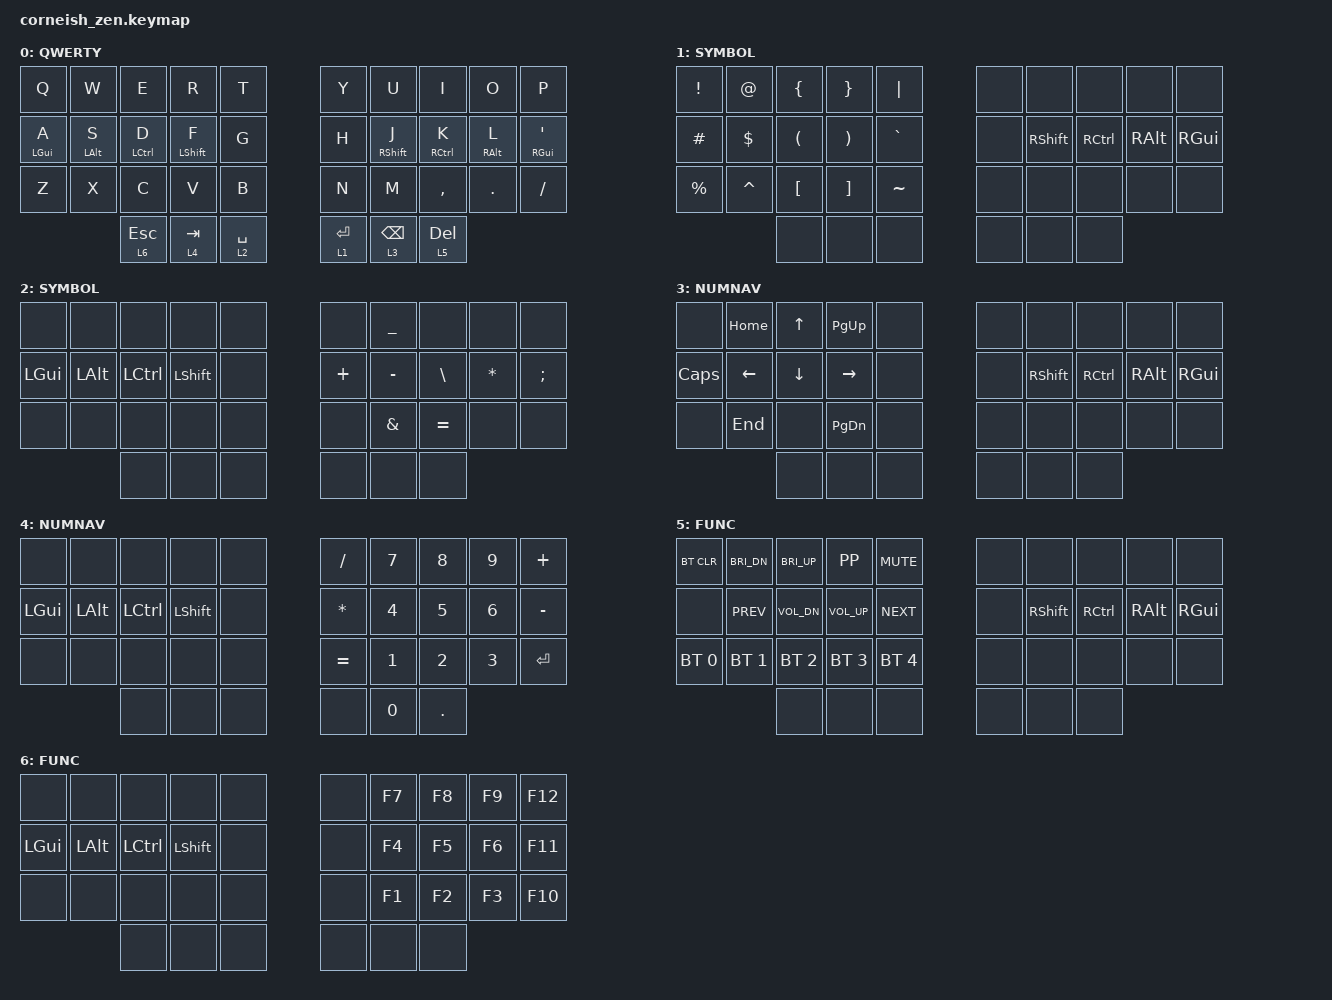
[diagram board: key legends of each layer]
#include <behaviors.dtsi>
#include <dt-bindings/zmk/bt.h>
#include <dt-bindings/zmk/keys.h>
#include <dt-bindings/zmk/matrix_transform.h>
#include <dt-bindings/zmk/outputs.h>

&mt {
  tapping-term-ms = <200>;
  quick_tap_ms = <0>;
  flavor = "tap-preferred";
};

/ {
  chosen {
    zmk,matrix_transform = &five_column_transform;
  };

/*
*                KEY POSITIONS
*    0   1   2   3   4 │ │  5   6   7   8   9
*   10  11  12  13  14 │ │ 15  16  17  18  19
*   20  21  22  23  24 │ │ 25  26  27  28  29
*           30  31  32 │ │ 33  34  35
*/
  combos {
    compatible = "zmk,combos";
    combo_capsword {
      timeout-ms = <50>;
      key-positions = <13 16>;
      bindings = <&caps_word>;
    };
  };

  keymap {
    compatible = "zmk,keymap";
  
    qwerty_layer {
      label = "QWERTY";
      bindings = <
&kp       Q &kp       W &kp       E &kp       R &kp       T        &kp       Y &kp       U &kp       I &kp       O &kp        P
&mt  LGUI A &mt  LALT S &mt LCTRL D &mt LSHFT F &kp       G        &kp       H &mt RSHFT J &mt RCTRL K &mt  RALT L &mt RGUI SQT
&kp       Z &kp       X &kp       C &kp       V &kp       B        &kp       N &kp       M &kp   COMMA &kp  PERIOD &kp    SLASH
                  &lt 6 ESC   &lt 4 TAB   &lt 2 SPC                &lt   1 RET &lt  3 BSPC &lt 5 DEL
      >;
    };
    
    symbol_layer_left {
      label = "SYMBOL";
      bindings = <
&kp       EXCL &kp         AT &kp       LBRC &kp       RBRC &kp      PIPE        &none          &none           &none          &none          &none
&kp       HASH &kp       DLLR &kp       LPRN &kp       RPRN &kp     GRAVE        &none          &kp       RSHFT &kp      RCTRL &kp       RALT &kp      RGUI
&kp      PRCNT &kp      CARET &kp       LBKT &kp       RBKT &kp     TILDE        &none          &none           &none          &none          &none
                              &none          &none          &none                &none          &none           &none 
      >;
    };
    
    symbol_layer_right {
      label = "SYMBOL";
      bindings = <
&none          &none          &none          &none          &none                &none          &kp       UNDER &none          &none          &none
&kp       LGUI &kp       LALT &kp      LCTRL &kp      LSHFT &none                &kp       PLUS &kp       MINUS &kp       BSLH &kp       STAR &kp      SEMI
&none          &none          &none          &none          &none                &none          &kp        AMPS &kp      EQUAL &none          &none
                              &none          &none          &none                &none          &none           &none 
      >;
    };
    
    navigation_layer_left {
      label = "NUMNAV";
      bindings = <
&none          &kp       HOME &kp         UP &kp       PG_UP &none               &none           &none           &none           &none           &none            
&kp       CAPS &kp       LEFT &kp       DOWN &kp       RIGHT &none               &none           &kp       RSHFT &kp       RCTRL &kp        RALT &kp          RGUI
&none          &kp        END &none          &kp       PG_DN &none               &none           &none           &none           &none           &none            
                              &none          &none           &none               &none           &none           &none          
      >;
    };

    navigation_layer_right {
      label = "NUMNAV";
      bindings = <
&none          &none          &none          &none           &none               &kp       SLASH &kp          N7 &kp          N8 &kp          N9 &kp          PLUS
&kp       LGUI &kp       LALT &kp      LCTRL &kp       LSHFT &none               &kp    ASTERISK &kp          N4 &kp          N5 &kp          N6 &kp         MINUS
&none          &none          &none          &none           &none               &kp       EQUAL &kp          N1 &kp          N2 &kp          N3 &kp         ENTER
                              &none          &none           &none               &none           &kp          N0 &kp         DOT
      >;
    };
    
    function_layer_left {
      label = "FUNC";
      bindings = <
&bt BT_CLR   &kp C_BRI_DN &kp C_BRI_UP &kp     K_PP &kp K_MUTE      &none  &none     &none     &none    &none
&none        &kp K_PREV   &kp K_VOL_DN &kp K_VOL_UP &kp K_NEXT      &none  &kp RSHFT &kp RCTRL &kp RALT &kp RGUI
&bt BT_SEL 0 &bt BT_SEL 1 &bt BT_SEL 2 &bt BT_SEL 3 &bt BT_SEL 4    &none  &none     &none     &none    &none
                          &none        &none        &none           &none  &none     &none 
      >;
    };

    function_layer_right {
      label = "FUNC";
      bindings = <
&none    &none    &none     &none     &none      &none  &kp  F7 &kp  F8 &kp  F9 &kp  F12
&kp LGUI &kp LALT &kp LCTRL &kp LSHFT &none      &none  &kp  F4 &kp  F5 &kp  F6 &kp  F11
&none    &none    &none     &none     &none      &none  &kp  F1 &kp  F2 &kp  F3 &kp  F10
                  &none     &none     &none      &none  &none   &none 
      >;
    };
  };
};
